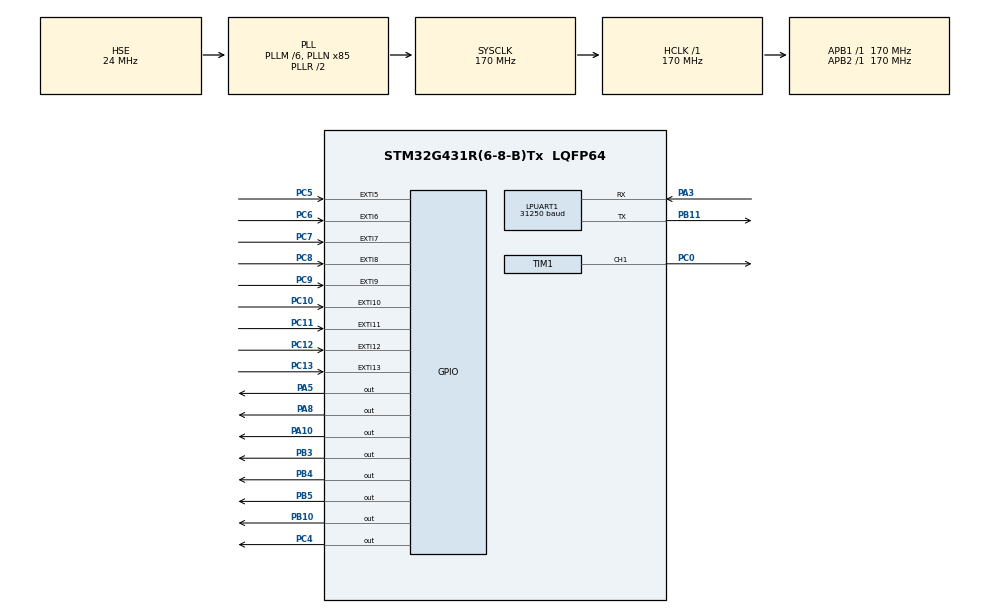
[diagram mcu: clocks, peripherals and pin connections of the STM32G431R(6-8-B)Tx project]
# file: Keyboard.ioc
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LPUART1.BaudRate=31250
LPUART1.ClockPrescaler=UART_PRESCALER_DIV256
Mcu.Family=STM32G4
Mcu.Name=STM32G431R(6-8-B)Tx
Mcu.Package=LQFP64
NVIC.EXTI15_10_IRQn=true\:2\:0\:true\:false\:true\:true\:true\:true
NVIC.EXTI9_5_IRQn=true\:2\:0\:true\:false\:true\:true\:true\:true
NVIC.PriorityGroup=NVIC_PRIORITYGROUP_4
NVIC.TIM8_UP_IRQn=true\:0\:0\:false\:false\:true\:true\:true\:true
PA10.PinState=GPIO_PIN_SET
PA10.Signal=GPIO_Output
PA13.Mode=Serial_Wire
PA13.Signal=SYS_JTMS-SWDIO
PA14.Mode=Serial_Wire
PA14.Signal=SYS_JTCK-SWCLK
PA3.Mode=Asynchronous
PA3.Signal=LPUART1_RX
PA5.PinState=GPIO_PIN_SET
PA5.Signal=GPIO_Output
PA8.PinState=GPIO_PIN_SET
PA8.Signal=GPIO_Output
PB10.PinState=GPIO_PIN_SET
PB10.Signal=GPIO_Output
PB11.Mode=Asynchronous
PB11.Signal=LPUART1_TX
PB3.PinState=GPIO_PIN_SET
PB3.Signal=GPIO_Output
PB4.PinState=GPIO_PIN_SET
PB4.Signal=GPIO_Output
PB5.PinState=GPIO_PIN_SET
PB5.Signal=GPIO_Output
PC0.Signal=S_TIM1_CH1
PC10.GPIO_ModeDefaultEXTI=GPIO_MODE_IT_RISING_FALLING
PC10.GPIO_PuPd=GPIO_PULLUP
PC10.Signal=GPXTI10
PC11.GPIO_ModeDefaultEXTI=GPIO_MODE_IT_RISING_FALLING
PC11.GPIO_PuPd=GPIO_PULLUP
PC11.Signal=GPXTI11
PC12.GPIO_ModeDefaultEXTI=GPIO_MODE_IT_FALLING
PC12.GPIO_PuPd=GPIO_PULLUP
PC12.Signal=GPXTI12
PC13.GPIO_ModeDefaultEXTI=GPIO_MODE_IT_RISING
PC13.Signal=GPXTI13
PC4.PinState=GPIO_PIN_SET
PC4.Signal=GPIO_Output
PC5.GPIO_ModeDefaultEXTI=GPIO_MODE_IT_RISING_FALLING
PC5.GPIO_PuPd=GPIO_PULLUP
PC5.Signal=GPXTI5
PC6.GPIO_ModeDefaultEXTI=GPIO_MODE_IT_RISING_FALLING
PC6.GPIO_PuPd=GPIO_PULLUP
PC6.Signal=GPXTI6
PC7.GPIO_ModeDefaultEXTI=GPIO_MODE_IT_RISING_FALLING
PC7.GPIO_PuPd=GPIO_PULLUP
PC7.Signal=GPXTI7
PC8.GPIO_ModeDefaultEXTI=GPIO_MODE_IT_RISING_FALLING
PC8.GPIO_PuPd=GPIO_PULLUP
PC8.Signal=GPXTI8
PC9.GPIO_ModeDefaultEXTI=GPIO_MODE_IT_RISING_FALLING
PC9.GPIO_PuPd=GPIO_PULLUP
PC9.Signal=GPXTI9
PF0-OSC_IN.Mode=HSE-External-Oscillator
PF0-OSC_IN.Signal=RCC_OSC_IN
PF1-OSC_OUT.Mode=HSE-External-Oscillator
PF1-OSC_OUT.Signal=RCC_OSC_OUT
ProjectManager.HeapSize=0x200
ProjectManager.StackSize=0x400
ProjectManager.TargetToolchain=STM32CubeIDE
RCC.ADC12Freq_Value=170000000
RCC.AHBFreq_Value=170000000
RCC.APB1Freq_Value=170000000
RCC.APB1TimFreq_Value=170000000
RCC.APB2Freq_Value=170000000
RCC.APB2TimFreq_Value=170000000
RCC.CortexFreq_Value=170000000
RCC.EXTERNAL_CLOCK_VALUE=12288000
RCC.HCLKFreq_Value=170000000
RCC.HSE_VALUE=24000000
RCC.HSI48_VALUE=48000000
RCC.HSI_VALUE=16000000
RCC.LSE_VALUE=32768
RCC.PLLM=RCC_PLLM_DIV6
RCC.PLLN=85
RCC.PLLSourceVirtual=RCC_PLLSOURCE_HSE
RCC.SYSCLKFreq_VALUE=170000000
RCC.SYSCLKSource=RCC_SYSCLKSOURCE_PLLCLK
RCC.USBFreq_Value=170000000
RCC.VCOOutputFreq_Value=340000000
SH.S_TIM1_CH1.0=TIM1_CH1,PWM Generation1 CH1
TIM1.AutoReloadPreload=TIM_AUTORELOAD_PRELOAD_ENABLE
TIM1.Channel-PWM\ Generation1\ CH1=TIM_CHANNEL_1
TIM1.OCMode_PWM-PWM\ Generation1\ CH1=TIM_OCMODE_PWM1
TIM1.PeriodNoDither=2273 - 1
TIM1.Prescaler=170 - 1
TIM1.PulseNoDither_1=2200
TIM8.AutoReloadPreload=TIM_AUTORELOAD_PRELOAD_ENABLE
TIM8.PeriodNoDither=2000-1
TIM8.Prescaler=170-1
VP_SYS_VS_DBSignals.Mode=DisableDeadBatterySignals
VP_TIM1_VS_ClockSourceINT.Mode=Internal
VP_TIM8_VS_ClockSourceINT.Mode=Internal
board=custom

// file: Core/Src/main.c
/* USER CODE BEGIN Header */
/**
  ******************************************************************************
  * @file           : main.c
  * @brief          : Main program body
  ******************************************************************************
  * @attention
  *
  * Copyright (c) 2022 STMicroelectronics.
  * All rights reserved.
  *
  * This software is licensed under terms that can be found in the LICENSE file
  * in the root directory of this software component.
  * If no LICENSE file comes with this software, it is provided AS-IS.
  *
  ******************************************************************************
  */
/* USER CODE END Header */
#include "main.h"

/* USER CODE BEGIN Includes */
#include "typedef.h"
/* USER CODE END Includes */

 UART_HandleTypeDef hlpuart1;

TIM_HandleTypeDef htim1;
TIM_HandleTypeDef htim8;

/* USER CODE BEGIN PV */
enum Mode mode = PIANO;
enum Song song_to_play = NO_SONG;

_Bool key_status[7][8] = {{1}};
int key_status_time_index = 0;
_Bool debounced_key_status[7] = {1};
_Bool note_off[7] = {1};

// songs
const enum Tune note_tune[3][512]={{
		RE, RE, RE, MI, MI, SOL, SOL, DO, DO, DO, DO, DO, DO, DO, SOL, LA, DO, RE, RE, RE, MI, MI, SOL, SOL, SOL, SOL, FA, MI, FA, FA, FA, FA, MI,
		RE, RE, RE, MI, MI, SOL, SOL, DO, DO, DO, DO, DO, DO, DO, SOL, LA, DO, RE, RE, RE, MI, MI, SOL, SOL, SOL, SOL, FA, MI, FA, FA,
		REST, REST, FA, FA, MI, RE, DO, RE, MI, MI, REST, REST, REST, FA, FA, MI, RE, DO, RE, DO, DO, REST, DO, MI, SOL,
		SOL, DO, DO, LA, SOL, SOL, MI, SOL, DO, DO, LA, SOL, SOL, MI, MI, RE, RE, LA, SOL, SOL, MI, MI, RE, RE, REST,
		REST, REST, FA, FA, MI, RE, DO, RE, MI, MI, REST, REST, REST, FA, FA, MI, RE, DO, RE, DO, DO, REST, DO, MI, SI,
		SI, DO, DO, DO, RE, DO, SI, SI, DO, DO, DO, RE, DO, RE, MI, RE, DO, DO, RE, DO, RE, MI, FA, MI, RE, RE, SOL, SOL, RE,
		RE, DO, DO, DO, MI, MI, RE, SI, LA, LA, SOL, SOL, SOL, REST, SOL, SOL, DO, DO, FA, DO, DO, SI, DO, RE, RE, MI, MI, MI, REST, SOL, SOL, RE,
		RE, DO, DO, DO, MI, MI, RE, SI, LA, LA, SOL, SOL, MI, RE, RE, DO, REST, SOL, SOL, LA, DO, DO, DO, FA, MI, RE, DO, DO, DO, REST
},{
		SOL, LA, SOL,
		SOL, MI, RE, DO, SOL, MI, MI, REST, REST, REST, MI, MI, MI, LA, LA, DO, MI,
		REST, REST, REST, LA, MI, RE, REST, DO, LA, REST, MI, RE, REST, RE, MI, SOL,
		REST, SOL, SOL, MI, REST, SOL, SOL, MI, REST, RE, DO, MI,
		REST, REST, REST, REST, SOL, SOL, RE, MI, RE, MI, MI,
		REST, REST, REST, REST, RE, MI, MI, MI, LA, DO, RE, DO, DO,
		REST, REST, REST, LA, FA, RE, MI, LA, REST, SOL, DO, RE, RE, REST, REST, REST, SOL, SOL, MI, MI, REST, SOL, SOL, REST, MI, RE, MI,
		REST, REST, REST, REST, MI, LA, REST, DO, LA, LA, REST, REST, LA, SOL, SI, MI, REST, REST, SOL, MI, MI,
		REST, REST, REST, REST, DO, MI, RE, DO, DO, DO, DO, LA, LA, DO, SI, SOL, MI, SOL, MI, RE, MI,
		REST, REST, SOL, LA, RE, RE, RE, DO, RE,
		REST, REST, REST, DO, SOL, REST, MI, RE, MI, SOL, SOL,
		REST, REST, SOL, DO, RE, RE, SOL, RE, RE, REST, SOL, MI, RE, MI, DO,
		REST, REST, REST, REST, REST, REST, REST, MI, RE,
		REST, MI, LA, REST, DO, LA, LA, REST, REST, LA, SOL, MI, SOL, MI, SOL, MI, MI,
		REST, REST, REST, REST, DO, MI, RE, DO, DO, DO, DO, LA, LA, DO, SI, SOL, MI, SOL, MI, RE, MI,
		REST, REST, SOL, LA, RE, RE, RE, DO, RE,
		REST, REST, REST, DO, SOL, REST, MI, RE, MI, SOL, SOL,
		REST, REST, SOL, DO, RE, RE, SOL, RE, RE, REST, SOL, MI, RE, MI, DO,
		REST, REST, REST, REST, REST, REST, SOL, DO, RE, RE, SOL, RE, RE, REST, SOL, MI, RE, MI, DO
},{
		DO, DO, MI, SOL, SOL, LA, DO, LA, SOL, SOL, MI, MI, SOL, MI, DO, LA, DO, RE, SOL,
		LA, LA, LA, DO, SOL, MI, RE, MI, RE, DO, RE, SOL, SOL, FA, SOL, LA, LA, SI, LA, SOL,
		DO, DO, LA, DO, SOL, LA, SOL, LA, LA, SOL, MI, RE, RE, MI, SOL,
		DO, DO, DO, MI, RE, MI, RE, DO, LA, LA, SOL, MI, RE, MI, RE, DO,
		DO, DO, REST, LA, LA, REST, SOL, SOL, LA, SOL, RE, MI, SOL,
		DO, DO, REST, LA, LA, REST, SOL, SOL, LA, SOL, RE, MI, RE, DO
}};

const enum Rhythm note_rhythm[3][512]={{
		EIGHTH, EIGHTH, EIGHTH, EIGHTH, EIGHTH, EIGHTH, EIGHTH, EIGHTH, EIGHTH, EIGHTH, EIGHTH, EIGHTH, EIGHTH, EIGHTH, SIXTEENTH, SIXTEENTH, EIGHTH, EIGHTH, EIGHTH, EIGHTH, EIGHTH, EIGHTH, EIGHTH, EIGHTH, EIGHTH, EIGHTH, EIGHTH, EIGHTH, EIGHTH, EIGHTH, EIGHTH, EIGHTH, EIGHTH,
		EIGHTH, EIGHTH, EIGHTH, EIGHTH, EIGHTH, EIGHTH, EIGHTH, EIGHTH, EIGHTH, EIGHTH, EIGHTH, EIGHTH, EIGHTH, EIGHTH, SIXTEENTH, SIXTEENTH, EIGHTH, EIGHTH, EIGHTH, EIGHTH, EIGHTH, EIGHTH, EIGHTH, EIGHTH, EIGHTH, EIGHTH, EIGHTH, EIGHTH, EIGHTH, HALF,
		QUARTER, EIGHTH, EIGHTH, EIGHTH, EIGHTH, EIGHTH, EIGHTH, EIGHTH, EIGHTH, HALF, QUARTER, QUARTER, EIGHTH, EIGHTH, EIGHTH, EIGHTH, EIGHTH, EIGHTH, EIGHTH, EIGHTH, QUARTER, EIGHTH, EIGHTH, EIGHTH, EIGHTH,
		DOTTED_EIGHTH, SIXTEENTH, QUARTER, EIGHTH, EIGHTH, EIGHTH, EIGHTH, DOTTED_EIGHTH, SIXTEENTH, QUARTER, EIGHTH, EIGHTH, EIGHTH, EIGHTH, EIGHTH, EIGHTH, QUARTER, EIGHTH, EIGHTH, EIGHTH, EIGHTH, DOTTED_EIGHTH, SIXTEENTH, HALF, QUARTER,
		QUARTER, EIGHTH, EIGHTH, EIGHTH, EIGHTH, EIGHTH, EIGHTH, EIGHTH, EIGHTH, HALF, QUARTER, QUARTER, EIGHTH, EIGHTH, EIGHTH, EIGHTH, EIGHTH, EIGHTH, DOTTED_EIGHTH, SIXTEENTH, QUARTER, EIGHTH, EIGHTH, EIGHTH, EIGHTH,
		EIGHTH, QUARTER, EIGHTH, EIGHTH, EIGHTH, EIGHTH, EIGHTH, EIGHTH, QUARTER, EIGHTH, EIGHTH, EIGHTH, EIGHTH, EIGHTH, EIGHTH, QUARTER, EIGHTH, EIGHTH, EIGHTH, EIGHTH, EIGHTH, EIGHTH, EIGHTH, EIGHTH, EIGHTH, EIGHTH, EIGHTH, EIGHTH, EIGHTH,
		EIGHTH, SIXTEENTH, SIXTEENTH, EIGHTH, EIGHTH, EIGHTH, EIGHTH, EIGHTH, EIGHTH, EIGHTH, SIXTEENTH, SIXTEENTH, QUARTER, EIGHTH, EIGHTH, EIGHTH, EIGHTH, EIGHTH, QUARTER, EIGHTH, EIGHTH, EIGHTH, EIGHTH, EIGHTH, EIGHTH, SIXTEENTH, SIXTEENTH, QUARTER, EIGHTH, EIGHTH, EIGHTH, EIGHTH,
		EIGHTH, SIXTEENTH, SIXTEENTH, EIGHTH, EIGHTH, EIGHTH, EIGHTH, EIGHTH, EIGHTH, EIGHTH, EIGHTH, EIGHTH, SIXTEENTH, SIXTEENTH, SIXTEENTH, DOTTED_EIGHTH, EIGHTH, EIGHTH, EIGHTH, SIXTEENTH, SIXTEENTH, DOTTED_EIGHTH, SIXTEENTH, EIGHTH, EIGHTH, EIGHTH, SIXTEENTH, SIXTEENTH, HALF, HALF
},{
		EIGHTH, EIGHTH, EIGHTH,
		EIGHTH, QUARTER, EIGHTH, EIGHTH, EIGHTH, EIGHTH, QUARTER,
		EIGHTH, QUARTER, QUARTER, EIGHTH, EIGHTH,
		EIGHTH, DOTTED_QUARTER, DOTTED_EIGHTH, DOTTED_EIGHTH, QUARTER,
		EIGHTH, QUARTER, EIGHTH, EIGHTH, EIGHTH, EIGHTH,
		QUARTER, EIGHTH, EIGHTH, QUARTER, EIGHTH, EIGHTH,
		EIGHTH, EIGHTH, EIGHTH, EIGHTH,
		EIGHTH, EIGHTH, EIGHTH, EIGHTH,
		EIGHTH, EIGHTH, EIGHTH, EIGHTH,
		EIGHTH, EIGHTH, EIGHTH, QUARTER,
		EIGHTH, QUARTER, QUARTER, EIGHTH, EIGHTH,
		EIGHTH, EIGHTH, EIGHTH, EIGHTH, EIGHTH, DOTTED_QUARTER,
		QUARTER, EIGHTH, EIGHTH, QUARTER, EIGHTH, EIGHTH, EIGHTH, QUARTER, EIGHTH, DOTTED_EIGHTH, DOTTED_EIGHTH, EIGHTH, HALF,
		EIGHTH, EIGHTH, EIGHTH, EIGHTH, EIGHTH, EIGHTH, EIGHTH, EIGHTH, DOTTED_QUARTER, EIGHTH, EIGHTH, QUARTER, EIGHTH, QUARTER, EIGHTH, EIGHTH, EIGHTH, EIGHTH, EIGHTH, EIGHTH, EIGHTH, QUARTER, EIGHTH, EIGHTH, EIGHTH, EIGHTH, EIGHTH,
		QUARTER, EIGHTH, EIGHTH, QUARTER, EIGHTH, EIGHTH, EIGHTH, EIGHTH, EIGHTH, EIGHTH, QUARTER, QUARTER, EIGHTH, EIGHTH, EIGHTH, EIGHTH, EIGHTH, DOTTED_QUARTER, DOTTED_EIGHTH, DOTTED_EIGHTH, QUARTER,
		EIGHTH, QUARTER, QUARTER, EIGHTH, SIXTEENTH, SIXTEENTH, DOTTED_QUARTER, EIGHTH, EIGHTH, EIGHTH, EIGHTH, EIGHTH, HALF, DOTTED_EIGHTH, DOTTED_EIGHTH, EIGHTH, HALF, EIGHTH, EIGHTH, EIGHTH, QUARTER,
		EIGHTH, QUARTER, QUARTER, QUARTER, EIGHTH, DOTTED_QUARTER, QUARTER, EIGHTH, DOTTED_QUARTER,
		EIGHTH, EIGHTH, QUARTER, EIGHTH, EIGHTH, QUARTER, EIGHTH, EIGHTH, DOTTED_EIGHTH, DOTTED_EIGHTH, EIGHTH,
		QUARTER, QUARTER, QUARTER, QUARTER, QUARTER, QUARTER, DOTTED_EIGHTH, DOTTED_EIGHTH, EIGHTH,
		QUARTER, EIGHTH, EIGHTH, DOTTED_EIGHTH, DOTTED_EIGHTH, EIGHTH,
		QUARTER, QUARTER, QUARTER, QUARTER, QUARTER, QUARTER, QUARTER, EIGHTH, EIGHTH,
		QUARTER, EIGHTH, EIGHTH, EIGHTH, EIGHTH, EIGHTH, EIGHTH, QUARTER, QUARTER, DOTTED_EIGHTH, DOTTED_EIGHTH, EIGHTH, EIGHTH, DOTTED_QUARTER, DOTTED_EIGHTH, DOTTED_EIGHTH, EIGHTH,
		QUARTER, QUARTER, QUARTER, EIGHTH, SIXTEENTH, SIXTEENTH, DOTTED_QUARTER, EIGHTH, EIGHTH, EIGHTH, EIGHTH, EIGHTH, HALF, DOTTED_EIGHTH, DOTTED_EIGHTH, EIGHTH, HALF, EIGHTH, EIGHTH, EIGHTH, EIGHTH,
		QUARTER, QUARTER, QUARTER, QUARTER, QUARTER, QUARTER, QUARTER, EIGHTH, EIGHTH,
		QUARTER, QUARTER, QUARTER, EIGHTH, EIGHTH, QUARTER, EIGHTH, EIGHTH, DOTTED_EIGHTH, DOTTED_EIGHTH, QUARTER,
		EIGHTH, QUARTER, QUARTER, QUARTER, QUARTER, QUARTER, DOTTED_EIGHTH, DOTTED_EIGHTH, EIGHTH, QUARTER, EIGHTH, EIGHTH, DOTTED_EIGHTH, DOTTED_EIGHTH, EIGHTH,
		QUARTER, QUARTER, QUARTER, QUARTER, QUARTER, QUARTER, QUARTER, QUARTER, QUARTER, QUARTER, DOTTED_EIGHTH, DOTTED_EIGHTH, EIGHTH, QUARTER, EIGHTH, EIGHTH, DOTTED_EIGHTH, DOTTED_EIGHTH, EIGHTH
},{
		QUARTER, EIGHTH, EIGHTH, QUARTER, QUARTER, QUARTER, EIGHTH, EIGHTH, QUARTER, QUARTER, QUARTER, QUARTER, EIGHTH, EIGHTH, QUARTER, QUARTER, EIGHTH, EIGHTH, HALF,
		QUARTER, QUARTER, EIGHTH, EIGHTH, QUARTER, QUARTER, QUARTER, EIGHTH, EIGHTH, QUARTER, QUARTER, QUARTER, EIGHTH, EIGHTH, QUARTER, QUARTER, QUARTER, EIGHTH, EIGHTH, QUARTER,
		DOTTED_QUARTER, EIGHTH, QUARTER, QUARTER, DOTTED_QUARTER, EIGHTH, HALF, DOTTED_QUARTER, EIGHTH, QUARTER, QUARTER, QUARTER, EIGHTH, EIGHTH, HALF,
		DOTTED_QUARTER, EIGHTH, QUARTER, QUARTER, QUARTER, EIGHTH, EIGHTH, HALF, DOTTED_QUARTER, EIGHTH, QUARTER, QUARTER, QUARTER, EIGHTH, EIGHTH, HALF,
		QUARTER, HALF, QUARTER, QUARTER, HALF, QUARTER, QUARTER, QUARTER, QUARTER, QUARTER, QUARTER, QUARTER, HALF,
		QUARTER, HALF, QUARTER, QUARTER, HALF, QUARTER, QUARTER, QUARTER, QUARTER, QUARTER, QUARTER, EIGHTH, EIGHTH, HALF
}};

const int note_octave[3][512]={{
		0, 0, 0, 0,	0, 0, 0, 0,	0, 0, 0, 0,	0, 0, -1, -1, 0,
		0, 0, 0, 0, 0, 0, 0, 0, 0, 0, 0, 0, 0, 0, 0, 0,
		0, 0, 0, 0,	0, 0, 0, 0,	0, 0, 0, 0, 0, 0, -1, -1, 0,
		0, 0, 0, 0, 0, 0, 0, 0, 0, 0, 0, 0, 0,
		0, 0, 0, 0, 0, 0, 0, 0, 0, 0, 0, 0, 0, 0, 0, 0, 0, 0, 0, 0, 0, 0, 0, 0, 0,
		0, 0, 0, 0, 0, 0, 0, 0, 0, 0, 0, 0, 0, 0, 0, 0, 0, 0, 0, 0, 0, 0, 0, 0, 0,
		0, 0, 0, 0, 0, 0, 0, 0, 0, 0, 0, 0, 0, 0, 0, 0, 0, 0, 0, 0, 0, 0, 0, 0, 0,
		0, 1, 1, 1, 1, 1, 0, 0, 1, 1, 1, 1, 1, 1, 1, 1, 1, 1, 1, 1, 1, 1, 1, 1, 1, 1, 0, 0, 1,
		1, 1, 1, 1, 1, 1, 1, 0, 0, 0, 0, 0, 0, 0, 0, 0, 1, 1, 0, 1, 1, 0, 1, 1, 1, 1, 1, 1, 0, 0, 0, 1,
		1, 1, 1, 1, 1, 1, 1, 0, 0, 0, 0, 0, 0, 1, 1, 1, 0, 0, 0, 0, 0, 0, 0, 0, 0, 0, 0, 0, 0, 0
},{
		-1, -1, -1,
		0, 0, 0, 0, -1, 0, 0, 0, 0, 0, 0, 0, 0, -1, -1, 0, 0,
		0, 0, 0, -1, 0, 0, 0, 0, -1, 0, 0, 0, 0, 0, 0, -1, 0, -1, 0, 0, 0, -1, 0, 0, 0, 0, 0, 0,
		0, 0, 0, 0, -1, 0, 0, 0, 0, 0, 0, 0, 0, 0, 0, 0, 0, 0, 0, -1, 0, 0, 0, 0,
		0, 0, 0, -1, 0, 0, 0, -1, 0, 0, 0, 0, 0, 0, 0, 0, 0, 0, 0, 0, 0, 0, 0, 0, 0, 0, 0,
		0, 0, 0, 0, 0, -1, 0, 0, 0, 0, 0, 0, 0, 0, 0, 0, 0, 0, 0, 0, 0,
		0, 0, 0, 0, 0, 0, 0, 0, 1, 0, 0, 0, 0, 1, 0, 0, 0, 0, 0, 0, 0,
		0, 0, 0, 0, 0, 0, 0, 0, 0,
		0, 0, 0, 1, 0, 0, 0, 0, 0, 0, 0,
		0, 0, 0, 0, 0, 0, -1, 0, 0, 0, 0, 0, 0, 0, 0,
		0, 0, 0, 0, 0, 0, 0, 0, 0,
		0, 0, -1, 0, 0, 0, 0, 0, 0, 0, 0, 0, 0, 0, 0, 0, 0,
		0, 0, 0, 0, 0, 0, 0, 0, 1, 0, 0, 0, 0, 1, 0, 0, 0, 0, 0, 0, 0,
		0, 0, 0, 0, 0, 0, 0, 0, 0,
		0, 0, 0, 1, 0, 0, 0, 0, 0, 0, 0,
		0, 0, 0, 0, 0, 0, -1, 0, 0, 0, 0, 0, 0, 0, 0,
		0, 0, 0, 0, 0, 0, 0, 0, 0, 0, -1, 0, 0, 0, 0, 0, 0, 0, 0
},{
		0, 0, 0, 0, 0, 0, 1, 0, 0, 0, 0, 0, 0, 0, 0, -1, 0, 0, 0,
		0, 0, 0, 1, 0, 	0, 0, 0, 0, 0, 0, 0, 0, 0, 0, 0, 0, 0, 0, 0,
		1, 1, 0, 1, 0, 0, 0, 0, 0, 0, 0, 0, 0, 0, 0,
		0, 0, 0, 0, 0, 0, 0, 0, 0, 0, 0, 0, 0, 0, 0, 0,
		1, 1, 0, 0, 0, 0, 0, 0, 0, 0, 0, 0, 0,
		1, 1, 0, 0, 0, 0, 0, 0, 0, 0, 0, 0, 0, 0
}};
const int length[3] = {229, 277, 97};
const int bpm[3] = {67,82,90};
/* USER CODE END PV */

void SystemClock_Config(void);
static void MX_GPIO_Init(void);
static void MX_LPUART1_UART_Init(void);
static void MX_TIM1_Init(void);
static void MX_TIM8_Init(void);
/* USER CODE BEGIN PFP */
void set_tune (enum Tune t, int octave);
void play_song(enum Song song, const int bpm, const int length, const enum Tune* note_tune, const enum Rhythm* note_rhythm, const int* note_ocative);
void display(char c);
void control_midi(int command, enum Tune tune, int octave);
/* USER CODE END PFP */

int main(void)
{

  /* MCU Configuration--------------------------------------------------------*/

  /* Reset of all peripherals, Initializes the Flash interface and the Systick. */
  HAL_Init();

  /* USER CODE BEGIN Init */
  mode = PIANO;
  /* USER CODE END Init */

  /* Configure the system clock */
  SystemClock_Config();

  /* Initialize all configured peripherals */
  MX_GPIO_Init();
  MX_LPUART1_UART_Init();
  MX_TIM1_Init();
  MX_TIM8_Init();
  /* USER CODE BEGIN 2 */
  HAL_TIM_Base_Start_IT(&htim8);// enable it
  /* USER CODE END 2 */

  /* Infinite loop */
  while (1)
  {

    /* USER CODE BEGIN 3 */
	  switch(mode){
	  case MIDI:
		  for(int i = 0; i < 7; i++){
			  if (note_off[i] != debounced_key_status[i]){// modify note status
				  if (debounced_key_status[i]){// send note off signal
					  control_midi(MIDI_NOTE_OFF, i + DO, 0);
					  note_off[i] = 1;
				  }
				  else{// send note on signal
					  control_midi(MIDI_NOTE_ON, i + DO, 0);
					  note_off[i] = 0;
				  }
			  }
		  }
		  break;
	  case PIANO:
		  break;
	  case MUSIC:
		  switch(song_to_play){
		  case NO_SONG:
			  break;
		  case SONG_1:
			  display('1');
			  play_song(SONG_1, bpm[0], length[0], note_tune[0], note_rhythm[0], note_octave[0]);
			  display('^');
			  break;
		  case SONG_2:	// song2
			  display('2');
			  play_song(SONG_2, bpm[1], length[1], note_tune[1], note_rhythm[1], note_octave[1]);
			  display('^');
			  break;
		  case SONG_3:	// song3
			  display('3');
			  play_song(SONG_3, bpm[2], length[2], note_tune[2], note_rhythm[2], note_octave[2]);
			  display('^');
			  break;
		  }
		  break;
	  }
  }
  /* USER CODE END 3 */
}

void SystemClock_Config(void)
{
  RCC_OscInitTypeDef RCC_OscInitStruct = {0};
  RCC_ClkInitTypeDef RCC_ClkInitStruct = {0};

  /** Configure the main internal regulator output voltage
  */
  HAL_PWREx_ControlVoltageScaling(PWR_REGULATOR_VOLTAGE_SCALE1_BOOST);

  /** Initializes the RCC Oscillators according to the specified parameters
  * in the RCC_OscInitTypeDef structure.
  */
  RCC_OscInitStruct.OscillatorType = RCC_OSCILLATORTYPE_HSE;
  RCC_OscInitStruct.HSEState = RCC_HSE_ON;
  RCC_OscInitStruct.PLL.PLLState = RCC_PLL_ON;
  RCC_OscInitStruct.PLL.PLLSource = RCC_PLLSOURCE_HSE;
  RCC_OscInitStruct.PLL.PLLM = RCC_PLLM_DIV6;
  RCC_OscInitStruct.PLL.PLLN = 85;
  RCC_OscInitStruct.PLL.PLLP = RCC_PLLP_DIV2;
  RCC_OscInitStruct.PLL.PLLQ = RCC_PLLQ_DIV2;
  RCC_OscInitStruct.PLL.PLLR = RCC_PLLR_DIV2;
  if (HAL_RCC_OscConfig(&RCC_OscInitStruct) != HAL_OK)
  {
    Error_Handler();
  }

  /** Initializes the CPU, AHB and APB buses clocks
  */
  RCC_ClkInitStruct.ClockType = RCC_CLOCKTYPE_HCLK|RCC_CLOCKTYPE_SYSCLK
                              |RCC_CLOCKTYPE_PCLK1|RCC_CLOCKTYPE_PCLK2;
  RCC_ClkInitStruct.SYSCLKSource = RCC_SYSCLKSOURCE_PLLCLK;
  RCC_ClkInitStruct.AHBCLKDivider = RCC_SYSCLK_DIV1;
  RCC_ClkInitStruct.APB1CLKDivider = RCC_HCLK_DIV1;
  RCC_ClkInitStruct.APB2CLKDivider = RCC_HCLK_DIV1;

  if (HAL_RCC_ClockConfig(&RCC_ClkInitStruct, FLASH_LATENCY_4) != HAL_OK)
  {
    Error_Handler();
  }
}

static void MX_LPUART1_UART_Init(void)
{

  hlpuart1.Instance = LPUART1;
  hlpuart1.Init.BaudRate = 31250;
  hlpuart1.Init.WordLength = UART_WORDLENGTH_8B;
  hlpuart1.Init.StopBits = UART_STOPBITS_1;
  hlpuart1.Init.Parity = UART_PARITY_NONE;
  hlpuart1.Init.Mode = UART_MODE_TX_RX;
  hlpuart1.Init.HwFlowCtl = UART_HWCONTROL_NONE;
  hlpuart1.Init.OneBitSampling = UART_ONE_BIT_SAMPLE_DISABLE;
  hlpuart1.Init.ClockPrescaler = UART_PRESCALER_DIV256;
  hlpuart1.AdvancedInit.AdvFeatureInit = UART_ADVFEATURE_NO_INIT;
  if (HAL_UART_Init(&hlpuart1) != HAL_OK)
  {
    Error_Handler();
  }
  if (HAL_UARTEx_SetTxFifoThreshold(&hlpuart1, UART_TXFIFO_THRESHOLD_1_8) != HAL_OK)
  {
    Error_Handler();
  }
  if (HAL_UARTEx_SetRxFifoThreshold(&hlpuart1, UART_RXFIFO_THRESHOLD_1_8) != HAL_OK)
  {
    Error_Handler();
  }
  if (HAL_UARTEx_DisableFifoMode(&hlpuart1) != HAL_OK)
  {
    Error_Handler();
  }

}

static void MX_TIM1_Init(void)
{

  TIM_ClockConfigTypeDef sClockSourceConfig = {0};
  TIM_MasterConfigTypeDef sMasterConfig = {0};
  TIM_OC_InitTypeDef sConfigOC = {0};
  TIM_BreakDeadTimeConfigTypeDef sBreakDeadTimeConfig = {0};

  htim1.Instance = TIM1;
  htim1.Init.Prescaler = 170 - 1;
  htim1.Init.CounterMode = TIM_COUNTERMODE_UP;
  htim1.Init.Period = 2272;
  htim1.Init.ClockDivision = TIM_CLOCKDIVISION_DIV1;
  htim1.Init.RepetitionCounter = 0;
  htim1.Init.AutoReloadPreload = TIM_AUTORELOAD_PRELOAD_ENABLE;
  if (HAL_TIM_Base_Init(&htim1) != HAL_OK)
  {
    Error_Handler();
  }
  sClockSourceConfig.ClockSource = TIM_CLOCKSOURCE_INTERNAL;
  if (HAL_TIM_ConfigClockSource(&htim1, &sClockSourceConfig) != HAL_OK)
  {
    Error_Handler();
  }
  if (HAL_TIM_PWM_Init(&htim1) != HAL_OK)
  {
    Error_Handler();
  }
  sMasterConfig.MasterOutputTrigger = TIM_TRGO_RESET;
  sMasterConfig.MasterOutputTrigger2 = TIM_TRGO2_RESET;
  sMasterConfig.MasterSlaveMode = TIM_MASTERSLAVEMODE_DISABLE;
  if (HAL_TIMEx_MasterConfigSynchronization(&htim1, &sMasterConfig) != HAL_OK)
  {
    Error_Handler();
  }
  sConfigOC.OCMode = TIM_OCMODE_PWM1;
  sConfigOC.Pulse = 2200;
  sConfigOC.OCPolarity = TIM_OCPOLARITY_HIGH;
  sConfigOC.OCNPolarity = TIM_OCNPOLARITY_HIGH;
  sConfigOC.OCFastMode = TIM_OCFAST_DISABLE;
  sConfigOC.OCIdleState = TIM_OCIDLESTATE_RESET;
  sConfigOC.OCNIdleState = TIM_OCNIDLESTATE_RESET;
  if (HAL_TIM_PWM_ConfigChannel(&htim1, &sConfigOC, TIM_CHANNEL_1) != HAL_OK)
  {
    Error_Handler();
  }
  sBreakDeadTimeConfig.OffStateRunMode = TIM_OSSR_DISABLE;
  sBreakDeadTimeConfig.OffStateIDLEMode = TIM_OSSI_DISABLE;
  sBreakDeadTimeConfig.LockLevel = TIM_LOCKLEVEL_OFF;
  sBreakDeadTimeConfig.DeadTime = 0;
  sBreakDeadTimeConfig.BreakState = TIM_BREAK_DISABLE;
  sBreakDeadTimeConfig.BreakPolarity = TIM_BREAKPOLARITY_HIGH;
  sBreakDeadTimeConfig.BreakFilter = 0;
  sBreakDeadTimeConfig.BreakAFMode = TIM_BREAK_AFMODE_INPUT;
  sBreakDeadTimeConfig.Break2State = TIM_BREAK2_DISABLE;
  sBreakDeadTimeConfig.Break2Polarity = TIM_BREAK2POLARITY_HIGH;
  sBreakDeadTimeConfig.Break2Filter = 0;
  sBreakDeadTimeConfig.Break2AFMode = TIM_BREAK_AFMODE_INPUT;
  sBreakDeadTimeConfig.AutomaticOutput = TIM_AUTOMATICOUTPUT_DISABLE;
  if (HAL_TIMEx_ConfigBreakDeadTime(&htim1, &sBreakDeadTimeConfig) != HAL_OK)
  {
    Error_Handler();
  }
  HAL_TIM_MspPostInit(&htim1);

}

static void MX_TIM8_Init(void)
{

  TIM_ClockConfigTypeDef sClockSourceConfig = {0};
  TIM_MasterConfigTypeDef sMasterConfig = {0};

  htim8.Instance = TIM8;
  htim8.Init.Prescaler = 170-1;
  htim8.Init.CounterMode = TIM_COUNTERMODE_UP;
  htim8.Init.Period = 1999;
  htim8.Init.ClockDivision = TIM_CLOCKDIVISION_DIV1;
  htim8.Init.RepetitionCounter = 0;
  htim8.Init.AutoReloadPreload = TIM_AUTORELOAD_PRELOAD_ENABLE;
  if (HAL_TIM_Base_Init(&htim8) != HAL_OK)
  {
    Error_Handler();
  }
  sClockSourceConfig.ClockSource = TIM_CLOCKSOURCE_INTERNAL;
  if (HAL_TIM_ConfigClockSource(&htim8, &sClockSourceConfig) != HAL_OK)
  {
    Error_Handler();
  }
  sMasterConfig.MasterOutputTrigger = TIM_TRGO_RESET;
  sMasterConfig.MasterOutputTrigger2 = TIM_TRGO2_RESET;
  sMasterConfig.MasterSlaveMode = TIM_MASTERSLAVEMODE_DISABLE;
  if (HAL_TIMEx_MasterConfigSynchronization(&htim8, &sMasterConfig) != HAL_OK)
  {
    Error_Handler();
  }

}

static void MX_GPIO_Init(void)
{
  GPIO_InitTypeDef GPIO_InitStruct = {0};

  /* GPIO Ports Clock Enable */
  __HAL_RCC_GPIOC_CLK_ENABLE();
  __HAL_RCC_GPIOF_CLK_ENABLE();
  __HAL_RCC_GPIOA_CLK_ENABLE();
  __HAL_RCC_GPIOB_CLK_ENABLE();

  /*Configure GPIO pin Output Level */
  HAL_GPIO_WritePin(GPIOA, GPIO_PIN_5|GPIO_PIN_8|GPIO_PIN_10, GPIO_PIN_SET);

  /*Configure GPIO pin Output Level */
  HAL_GPIO_WritePin(GPIOC, GPIO_PIN_4, GPIO_PIN_SET);

  /*Configure GPIO pin Output Level */
  HAL_GPIO_WritePin(GPIOB, GPIO_PIN_10|GPIO_PIN_3|GPIO_PIN_4|GPIO_PIN_5, GPIO_PIN_SET);

  /*Configure GPIO pin : PC13 */
  GPIO_InitStruct.Pin = GPIO_PIN_13;
  GPIO_InitStruct.Mode = GPIO_MODE_IT_RISING;
  GPIO_InitStruct.Pull = GPIO_NOPULL;
  HAL_GPIO_Init(GPIOC, &GPIO_InitStruct);

  /*Configure GPIO pins : PA5 PA8 PA10 */
  GPIO_InitStruct.Pin = GPIO_PIN_5|GPIO_PIN_8|GPIO_PIN_10;
  GPIO_InitStruct.Mode = GPIO_MODE_OUTPUT_PP;
  GPIO_InitStruct.Pull = GPIO_NOPULL;
  GPIO_InitStruct.Speed = GPIO_SPEED_FREQ_LOW;
  HAL_GPIO_Init(GPIOA, &GPIO_InitStruct);

  /*Configure GPIO pin : PC4 */
  GPIO_InitStruct.Pin = GPIO_PIN_4;
  GPIO_InitStruct.Mode = GPIO_MODE_OUTPUT_PP;
  GPIO_InitStruct.Pull = GPIO_NOPULL;
  GPIO_InitStruct.Speed = GPIO_SPEED_FREQ_LOW;
  HAL_GPIO_Init(GPIOC, &GPIO_InitStruct);

  /*Configure GPIO pins : PC5 PC6 PC7 PC8
                           PC9 PC10 PC11 */
  GPIO_InitStruct.Pin = GPIO_PIN_5|GPIO_PIN_6|GPIO_PIN_7|GPIO_PIN_8
                          |GPIO_PIN_9|GPIO_PIN_10|GPIO_PIN_11;
  GPIO_InitStruct.Mode = GPIO_MODE_IT_RISING_FALLING;
  GPIO_InitStruct.Pull = GPIO_PULLUP;
  HAL_GPIO_Init(GPIOC, &GPIO_InitStruct);

  /*Configure GPIO pins : PB10 PB3 PB4 PB5 */
  GPIO_InitStruct.Pin = GPIO_PIN_10|GPIO_PIN_3|GPIO_PIN_4|GPIO_PIN_5;
  GPIO_InitStruct.Mode = GPIO_MODE_OUTPUT_PP;
  GPIO_InitStruct.Pull = GPIO_NOPULL;
  GPIO_InitStruct.Speed = GPIO_SPEED_FREQ_LOW;
  HAL_GPIO_Init(GPIOB, &GPIO_InitStruct);

  /*Configure GPIO pin : PC12 */
  GPIO_InitStruct.Pin = GPIO_PIN_12;
  GPIO_InitStruct.Mode = GPIO_MODE_IT_FALLING;
  GPIO_InitStruct.Pull = GPIO_PULLUP;
  HAL_GPIO_Init(GPIOC, &GPIO_InitStruct);

  /* EXTI interrupt init*/
  HAL_NVIC_SetPriority(EXTI9_5_IRQn, 2, 0);
  HAL_NVIC_EnableIRQ(EXTI9_5_IRQn);

  HAL_NVIC_SetPriority(EXTI15_10_IRQn, 2, 0);
  HAL_NVIC_EnableIRQ(EXTI15_10_IRQn);

}

/* USER CODE BEGIN 4 */

void  HAL_TIM_PeriodElapsedCallback(TIM_HandleTypeDef *htim)    // TIM INTERRUPT
{
	if(htim->Instance==TIM8)   // IF INTERRUPT GENERATED BY TIM8
	{
		// key_status_time_index
		key_status[0][key_status_time_index] = HAL_GPIO_ReadPin(GPIOC, GPIO_PIN_5);
		key_status[1][key_status_time_index] = HAL_GPIO_ReadPin(GPIOC, GPIO_PIN_6);
		key_status[2][key_status_time_index] = HAL_GPIO_ReadPin(GPIOC, GPIO_PIN_7);
		key_status[3][key_status_time_index] = HAL_GPIO_ReadPin(GPIOC, GPIO_PIN_8);
		key_status[4][key_status_time_index] = HAL_GPIO_ReadPin(GPIOC, GPIO_PIN_9);
		key_status[5][key_status_time_index] = HAL_GPIO_ReadPin(GPIOC, GPIO_PIN_10);
		key_status[6][key_status_time_index] = HAL_GPIO_ReadPin(GPIOC, GPIO_PIN_11);
		key_status_time_index++;
		key_status_time_index %= 8;	// key_status_time_index in [0, 7)
		for (int i = 0; i < 7; i++){
			int pressed_count = 0;
			for (int j = 0; j < 8; j++){// 8 time (16ms) the same
				if(key_status[i][j] == 0){
					pressed_count++;
				}
			}
			if (pressed_count == 8){// 8 time (16ms) pressed
				debounced_key_status[i] = 0;
			}
			else if(pressed_count == 0){// 8 time (16ms) released
				debounced_key_status[i] = 1;
			}
		}
	}

}

void HAL_GPIO_EXTI_Callback(uint16_t GPIO_Pin)
{
	// 消抖,8ci
	int octave;
	enum Tune tune;
	int control_key = 0;
	char key;

	switch(mode){
	case PIANO:// play piano

		if (HAL_GPIO_ReadPin(GPIOC, GPIO_PIN_12) &&
					!HAL_GPIO_ReadPin(GPIOC, GPIO_PIN_13)){// neither K8 nor K pressed!
			octave = 0;
		}
		else if(!HAL_GPIO_ReadPin(GPIOC, GPIO_PIN_12) &&
				!HAL_GPIO_ReadPin(GPIOC, GPIO_PIN_13)){// K8 pressed! higher
			octave = 1;
		}
		else if(HAL_GPIO_ReadPin(GPIOC, GPIO_PIN_12) &&
				HAL_GPIO_ReadPin(GPIOC, GPIO_PIN_13)){// K pressed! lower
			octave = -1;
		}
		else{// K8 and K pressed! switch mode!
			mode = MUSIC;
			return;
		}

		switch(GPIO_Pin){
		case GPIO_PIN_5:tune = DO; key = '1'; break;
		case GPIO_PIN_6:tune = RE; key = '2'; break;
		case GPIO_PIN_7:tune = MI; key = '3'; break;
		case GPIO_PIN_8:tune = FA; key = '4'; break;
		case GPIO_PIN_9:tune = SOL;	key = '5'; break;
		case GPIO_PIN_10:tune = LA; key = '6'; break;
		case GPIO_PIN_11:tune = SI; key = '7'; break;
		default:control_key = 1; break;
		}
		if (!control_key){
			if(!HAL_GPIO_ReadPin(GPIOC, GPIO_Pin)){// 低电平表示按下！
				set_tune(tune, octave);
				HAL_TIM_PWM_Start(&htim1, TIM_CHANNEL_1);
				display(key);
			}
			else{
				HAL_TIM_PWM_Stop(&htim1, TIM_CHANNEL_1);
				display('^');
			}
		}
		break;
	case MUSIC:
		if(!HAL_GPIO_ReadPin(GPIOC, GPIO_PIN_12) &&
				HAL_GPIO_ReadPin(GPIOC, GPIO_PIN_13)){// K and K8 pressed!
			mode = MIDI;
			return;
		}
		// play song
		switch(GPIO_Pin){
		case GPIO_PIN_5:	// song1
			if (!HAL_GPIO_ReadPin(GPIOC, GPIO_PIN_5)){// 按下
				song_to_play = SONG_1;
			}
			break;
		case GPIO_PIN_6:	// song2
			if (!HAL_GPIO_ReadPin(GPIOC, GPIO_PIN_6)){// 按下
				song_to_play = SONG_2;
			}
			break;
		case GPIO_PIN_7:	// song3
			if (!HAL_GPIO_ReadPin(GPIOC, GPIO_PIN_7)){
				song_to_play = SONG_3;
			}
			break;
		default:	// STOP PLAY
			song_to_play = NO_SONG;
			break;
		}
		break;
	case MIDI:
		if(!HAL_GPIO_ReadPin(GPIOC, GPIO_PIN_12) &&
				HAL_GPIO_ReadPin(GPIOC, GPIO_PIN_13)){// K and K8 pressed!
			mode = PIANO;
			return;
		}
		break;
	}

}

void set_tune(enum Tune t, int octave){
	if (t == REST){// DON'T PLAY ANYTHING
		TIM1->ARR = 2272;
		TIM1->CCR1 = 2273;
		return;
	}
	switch (octave){
	case 0:// BEGIN WITH 440Hz
		if (t == DO){
			TIM1->ARR=3822;
			TIM1->CCR1=3600;
		}
		else if (t == RE){
			TIM1->ARR=3404;
			TIM1->CCR1=3233;
		}
		else if (t == MI){
			TIM1->ARR=3033;
			TIM1->CCR1=2881;
		}
		else if (t == FA){
			TIM1->ARR=2863;
			TIM1->CCR1=2719;
		}
		else if (t == SOL){
			TIM1->ARR=2550;
			TIM1->CCR1=2422;
		}
		else if (t == LA){
			TIM1->ARR=2272;
			TIM1->CCR1=2023;
		}
		else if (t == SI){
			TIM1->ARR=2024;
			TIM1->CCR1=1923;
		}
		break;
	case -1:// LOW OCTAVE
		if (t == DO){
			TIM1->ARR=7644;
			TIM1->CCR1=7262;
		}
		else if (t == RE){
			TIM1->ARR=6809;
			TIM1->CCR1=6468;
		}
		else if (t == MI){
			TIM1->ARR=6067;
			TIM1->CCR1=5763;
		}
		else if (t == FA){
			TIM1->ARR=5726;
			TIM1->CCR1=5440;
		}
		else if (t == SOL){
			TIM1->ARR=5101;
			TIM1->CCR1=4845;
		}
		else if (t == LA){
			TIM1->ARR=4544;
			TIM1->CCR1=4317;
		}
		else if (t == SI){
			TIM1->ARR=4048;
			TIM1->CCR1=3845;
		}
		break;
	case 1:// HIGH OCTAVE
		if (t == DO){
			TIM1->ARR=1910;
			TIM1->CCR1=1814;
		}
		else if (t == RE){
			TIM1->ARR=1701;
			TIM1->CCR1=1616;
		}
		else if (t == MI){
			TIM1->ARR=1516;
			TIM1->CCR1=1440;
		}
		else if (t == FA){
			TIM1->ARR=1431;
			TIM1->CCR1=1359;
		}
		else if (t == SOL){
			TIM1->ARR=1275;
			TIM1->CCR1=1210;
		}
		else if (t == LA){
			TIM1->ARR=1135;
			TIM1->CCR1=1078;
		}
		else if (t == SI){
			TIM1->ARR=1011;
			TIM1->CCR1=960;
		}
		break;
	}
}

void control_midi(int command, enum Tune t, int octave){
	unsigned char frame[3];
	switch(command){// only single note at a time
	case MIDI_NOTE_OFF:
		frame[0] = 0x80;
		break;
	case MIDI_NOTE_ON:
		frame[0] = 0x90;
		break;
	}

	if (t == DO){
		frame[1] = 60;
	}
	else if (t == RE){
		frame[1] = 62;
	}
	else if (t == MI){
		frame[1] = 64;
	}
	else if (t == FA){
		frame[1] = 65;
	}
	else if (t == SOL){
		frame[1] = 67;
	}
	else if (t == LA){
		frame[1] = 69;
	}
	else if (t == SI){
		frame[1] = 71;
	}
	frame[2] = 0x7f;

	for (int i = 0; i < 3;i++){
		HAL_UART_Transmit(&hlpuart1, &frame[i], 1, 0xffff);
	}
}

void play_song(enum Song song, const int bpm, const int length, const enum Tune* note_tune, const enum Rhythm* note_rhythm, const int* note_ocative){
	long long sixteenth_time = 60*1000/4/bpm;// time of sixteenth note
	for (long long i = 0; i < length; i++){
		if (song_to_play != song){
			return;
		}
		// 考虑节奏
		long long time = 0;	//millisecond
		if (note_rhythm[i] == WHOLE){
			time = 16*sixteenth_time;
		}
		else if(note_rhythm[i] == HALF){
			time = 8*sixteenth_time;
		}
		else if (note_rhythm[i] == DOTTED_QUARTER){
			time = 6*sixteenth_time;
		}
		else if(note_rhythm[i] == QUARTER){
			time = 4*sixteenth_time;
		}
		else if(note_rhythm[i] == DOTTED_EIGHTH){
			time = 3*sixteenth_time;
		}
		else if(note_rhythm[i] == EIGHTH){
			time = 2*sixteenth_time;
		}
		else if(note_rhythm[i] == SIXTEENTH){
			time = 1*sixteenth_time;
		}
		set_tune(note_tune[i], note_ocative[i]);
		HAL_TIM_PWM_Start(&htim1, TIM_CHANNEL_1);
		HAL_Delay(time - 50);	// 防止溢出�??????????
		HAL_TIM_PWM_Stop(&htim1, TIM_CHANNEL_1);
		HAL_Delay(50);
	}
	// play complete
	song_to_play = NO_SONG;
}

void display(char c){
	switch(c){
	case '^':
		HAL_GPIO_WritePin(GPIOA, GPIO_PIN_8, GPIO_PIN_SET);
		HAL_GPIO_WritePin(GPIOB, GPIO_PIN_10, GPIO_PIN_SET);
		HAL_GPIO_WritePin(GPIOB, GPIO_PIN_4, GPIO_PIN_SET);
		HAL_GPIO_WritePin(GPIOB, GPIO_PIN_5, GPIO_PIN_SET);
		HAL_GPIO_WritePin(GPIOB, GPIO_PIN_3, GPIO_PIN_SET);
		HAL_GPIO_WritePin(GPIOA, GPIO_PIN_10, GPIO_PIN_SET);
		HAL_GPIO_WritePin(GPIOC, GPIO_PIN_4, GPIO_PIN_SET);
		break;
	case '0':
		HAL_GPIO_WritePin(GPIOA, GPIO_PIN_8, GPIO_PIN_SET);
		HAL_GPIO_WritePin(GPIOB, GPIO_PIN_10, GPIO_PIN_SET);
		HAL_GPIO_WritePin(GPIOB, GPIO_PIN_4, GPIO_PIN_SET);
		HAL_GPIO_WritePin(GPIOB, GPIO_PIN_5, GPIO_PIN_SET);
		HAL_GPIO_WritePin(GPIOB, GPIO_PIN_3, GPIO_PIN_SET);
		HAL_GPIO_WritePin(GPIOA, GPIO_PIN_10, GPIO_PIN_SET);
		HAL_GPIO_WritePin(GPIOC, GPIO_PIN_4, GPIO_PIN_SET);
		HAL_GPIO_WritePin(GPIOA, GPIO_PIN_8, GPIO_PIN_RESET);
		HAL_GPIO_WritePin(GPIOB, GPIO_PIN_10, GPIO_PIN_RESET);
		HAL_GPIO_WritePin(GPIOB, GPIO_PIN_4, GPIO_PIN_RESET);
		HAL_GPIO_WritePin(GPIOB, GPIO_PIN_5, GPIO_PIN_RESET);
		HAL_GPIO_WritePin(GPIOB, GPIO_PIN_3, GPIO_PIN_RESET);
		HAL_GPIO_WritePin(GPIOA, GPIO_PIN_10, GPIO_PIN_RESET);
		break;
	case '1':
		HAL_GPIO_WritePin(GPIOA, GPIO_PIN_8, GPIO_PIN_SET);
		HAL_GPIO_WritePin(GPIOB, GPIO_PIN_10, GPIO_PIN_SET);
		HAL_GPIO_WritePin(GPIOB, GPIO_PIN_4, GPIO_PIN_SET);
		HAL_GPIO_WritePin(GPIOB, GPIO_PIN_5, GPIO_PIN_SET);
		HAL_GPIO_WritePin(GPIOB, GPIO_PIN_3, GPIO_PIN_SET);
		HAL_GPIO_WritePin(GPIOA, GPIO_PIN_10, GPIO_PIN_SET);
		HAL_GPIO_WritePin(GPIOC, GPIO_PIN_4, GPIO_PIN_SET);
		HAL_GPIO_WritePin(GPIOB, GPIO_PIN_10, GPIO_PIN_RESET);
		HAL_GPIO_WritePin(GPIOB, GPIO_PIN_4, GPIO_PIN_RESET);
		break;
	case '2':
		HAL_GPIO_WritePin(GPIOA, GPIO_PIN_8, GPIO_PIN_SET);
		HAL_GPIO_WritePin(GPIOB, GPIO_PIN_10, GPIO_PIN_SET);
		HAL_GPIO_WritePin(GPIOB, GPIO_PIN_4, GPIO_PIN_SET);
		HAL_GPIO_WritePin(GPIOB, GPIO_PIN_5, GPIO_PIN_SET);
		HAL_GPIO_WritePin(GPIOB, GPIO_PIN_3, GPIO_PIN_SET);
		HAL_GPIO_WritePin(GPIOA, GPIO_PIN_10, GPIO_PIN_SET);
		HAL_GPIO_WritePin(GPIOC, GPIO_PIN_4, GPIO_PIN_SET);
		HAL_GPIO_WritePin(GPIOA, GPIO_PIN_8, GPIO_PIN_RESET);
		HAL_GPIO_WritePin(GPIOB, GPIO_PIN_10, GPIO_PIN_RESET);
		HAL_GPIO_WritePin(GPIOB, GPIO_PIN_5, GPIO_PIN_RESET);
		HAL_GPIO_WritePin(GPIOB, GPIO_PIN_3, GPIO_PIN_RESET);
		HAL_GPIO_WritePin(GPIOC, GPIO_PIN_4, GPIO_PIN_RESET);
		break;
	case '3':
		HAL_GPIO_WritePin(GPIOA, GPIO_PIN_8, GPIO_PIN_SET);
		HAL_GPIO_WritePin(GPIOB, GPIO_PIN_10, GPIO_PIN_SET);
		HAL_GPIO_WritePin(GPIOB, GPIO_PIN_4, GPIO_PIN_SET);
		HAL_GPIO_WritePin(GPIOB, GPIO_PIN_5, GPIO_PIN_SET);
		HAL_GPIO_WritePin(GPIOB, GPIO_PIN_3, GPIO_PIN_SET);
		HAL_GPIO_WritePin(GPIOA, GPIO_PIN_10, GPIO_PIN_SET);
		HAL_GPIO_WritePin(GPIOC, GPIO_PIN_4, GPIO_PIN_SET);
		HAL_GPIO_WritePin(GPIOA, GPIO_PIN_8, GPIO_PIN_RESET);
		HAL_GPIO_WritePin(GPIOB, GPIO_PIN_10, GPIO_PIN_RESET);
		HAL_GPIO_WritePin(GPIOB, GPIO_PIN_4, GPIO_PIN_RESET);
		HAL_GPIO_WritePin(GPIOB, GPIO_PIN_5, GPIO_PIN_RESET);
		HAL_GPIO_WritePin(GPIOC, GPIO_PIN_4, GPIO_PIN_RESET);
		break;
	case '4':
		HAL_GPIO_WritePin(GPIOA, GPIO_PIN_8, GPIO_PIN_SET);
		HAL_GPIO_WritePin(GPIOB, GPIO_PIN_10, GPIO_PIN_SET);
		HAL_GPIO_WritePin(GPIOB, GPIO_PIN_4, GPIO_PIN_SET);
		HAL_GPIO_WritePin(GPIOB, GPIO_PIN_5, GPIO_PIN_SET);
		HAL_GPIO_WritePin(GPIOB, GPIO_PIN_3, GPIO_PIN_SET);
		HAL_GPIO_WritePin(GPIOA, GPIO_PIN_10, GPIO_PIN_SET);
		HAL_GPIO_WritePin(GPIOC, GPIO_PIN_4, GPIO_PIN_SET);
		HAL_GPIO_WritePin(GPIOB, GPIO_PIN_10, GPIO_PIN_RESET);
		HAL_GPIO_WritePin(GPIOB, GPIO_PIN_4, GPIO_PIN_RESET);
		HAL_GPIO_WritePin(GPIOA, GPIO_PIN_10, GPIO_PIN_RESET);
		HAL_GPIO_WritePin(GPIOC, GPIO_PIN_4, GPIO_PIN_RESET);
		break;
	case '5':
		HAL_GPIO_WritePin(GPIOA, GPIO_PIN_8, GPIO_PIN_SET);
		HAL_GPIO_WritePin(GPIOB, GPIO_PIN_10, GPIO_PIN_SET);
		HAL_GPIO_WritePin(GPIOB, GPIO_PIN_4, GPIO_PIN_SET);
		HAL_GPIO_WritePin(GPIOB, GPIO_PIN_5, GPIO_PIN_SET);
		HAL_GPIO_WritePin(GPIOB, GPIO_PIN_3, GPIO_PIN_SET);
		HAL_GPIO_WritePin(GPIOA, GPIO_PIN_10, GPIO_PIN_SET);
		HAL_GPIO_WritePin(GPIOC, GPIO_PIN_4, GPIO_PIN_SET);
		HAL_GPIO_WritePin(GPIOA, GPIO_PIN_8, GPIO_PIN_RESET);
		HAL_GPIO_WritePin(GPIOB, GPIO_PIN_4, GPIO_PIN_RESET);
		HAL_GPIO_WritePin(GPIOB, GPIO_PIN_5, GPIO_PIN_RESET);
		HAL_GPIO_WritePin(GPIOA, GPIO_PIN_10, GPIO_PIN_RESET);
		HAL_GPIO_WritePin(GPIOC, GPIO_PIN_4, GPIO_PIN_RESET);
		break;
	case '6':
		HAL_GPIO_WritePin(GPIOA, GPIO_PIN_8, GPIO_PIN_SET);
		HAL_GPIO_WritePin(GPIOB, GPIO_PIN_10, GPIO_PIN_SET);
		HAL_GPIO_WritePin(GPIOB, GPIO_PIN_4, GPIO_PIN_SET);
		HAL_GPIO_WritePin(GPIOB, GPIO_PIN_5, GPIO_PIN_SET);
		HAL_GPIO_WritePin(GPIOB, GPIO_PIN_3, GPIO_PIN_SET);
		HAL_GPIO_WritePin(GPIOA, GPIO_PIN_10, GPIO_PIN_SET);
		HAL_GPIO_WritePin(GPIOC, GPIO_PIN_4, GPIO_PIN_SET);
		HAL_GPIO_WritePin(GPIOA, GPIO_PIN_8, GPIO_PIN_RESET);
		HAL_GPIO_WritePin(GPIOB, GPIO_PIN_4, GPIO_PIN_RESET);
		HAL_GPIO_WritePin(GPIOB, GPIO_PIN_5, GPIO_PIN_RESET);
		HAL_GPIO_WritePin(GPIOB, GPIO_PIN_3, GPIO_PIN_RESET);
		HAL_GPIO_WritePin(GPIOA, GPIO_PIN_10, GPIO_PIN_RESET);
		HAL_GPIO_WritePin(GPIOC, GPIO_PIN_4, GPIO_PIN_RESET);
		break;
	case '7':
		HAL_GPIO_WritePin(GPIOA, GPIO_PIN_8, GPIO_PIN_SET);
		HAL_GPIO_WritePin(GPIOB, GPIO_PIN_10, GPIO_PIN_SET);
		HAL_GPIO_WritePin(GPIOB, GPIO_PIN_4, GPIO_PIN_SET);
		HAL_GPIO_WritePin(GPIOB, GPIO_PIN_5, GPIO_PIN_SET);
		HAL_GPIO_WritePin(GPIOB, GPIO_PIN_3, GPIO_PIN_SET);
		HAL_GPIO_WritePin(GPIOA, GPIO_PIN_10, GPIO_PIN_SET);
		HAL_GPIO_WritePin(GPIOC, GPIO_PIN_4, GPIO_PIN_SET);
		HAL_GPIO_WritePin(GPIOA, GPIO_PIN_8, GPIO_PIN_RESET);
		HAL_GPIO_WritePin(GPIOB, GPIO_PIN_10, GPIO_PIN_RESET);
		HAL_GPIO_WritePin(GPIOB, GPIO_PIN_4, GPIO_PIN_RESET);
		break;
	}
}

/* USER CODE END 4 */

void Error_Handler(void)
{
  __disable_irq();
  while (1)
  {
  }
}
